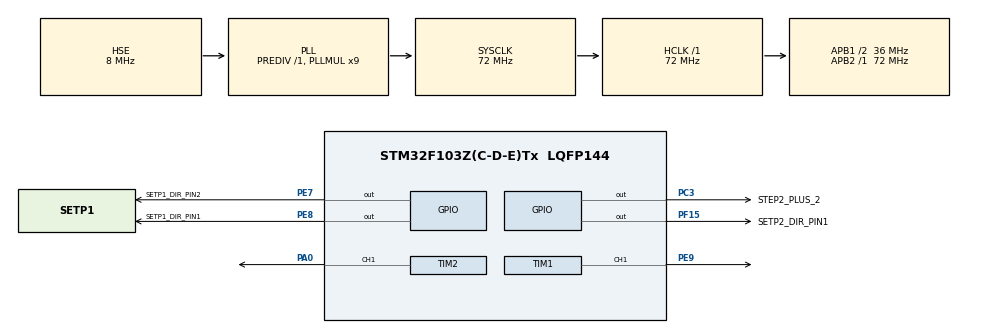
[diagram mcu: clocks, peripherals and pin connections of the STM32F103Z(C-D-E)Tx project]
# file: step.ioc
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Mcu.Family=STM32F1
Mcu.Name=STM32F103Z(C-D-E)Tx
Mcu.Package=LQFP144
NVIC.PriorityGroup=NVIC_PRIORITYGROUP_4
OSC_IN.Mode=HSE-External-Oscillator
OSC_IN.Signal=RCC_OSC_IN
OSC_OUT.Mode=HSE-External-Oscillator
OSC_OUT.Signal=RCC_OSC_OUT
PA0-WKUP.Signal=S_TIM2_CH1_ETR
PA13.Mode=Serial_Wire
PA13.Signal=SYS_JTMS-SWDIO
PA14.Mode=Serial_Wire
PA14.Signal=SYS_JTCK-SWCLK
PC3.GPIO_Label=STEP2_PLUS_2
PC3.GPIO_Speed=GPIO_SPEED_FREQ_MEDIUM
PC3.Signal=GPIO_Output
PE7.GPIO_Label=SETP1_DIR_PIN2
PE7.GPIO_Speed=GPIO_SPEED_FREQ_MEDIUM
PE7.Signal=GPIO_Output
PE8.GPIO_Label=SETP1_DIR_PIN1
PE8.GPIO_Speed=GPIO_SPEED_FREQ_MEDIUM
PE8.PinState=GPIO_PIN_SET
PE8.Signal=GPIO_Output
PE9.Signal=S_TIM1_CH1
PF15.GPIO_Label=SETP2_DIR_PIN1
PF15.GPIO_Speed=GPIO_SPEED_FREQ_MEDIUM
PF15.PinState=GPIO_PIN_SET
PF15.Signal=GPIO_Output
ProjectManager.HeapSize=0x200
ProjectManager.StackSize=0x400
ProjectManager.TargetToolchain=MDK-ARM V5
RCC.AHBFreq_Value=72000000
RCC.APB1CLKDivider=RCC_HCLK_DIV2
RCC.APB1Freq_Value=36000000
RCC.APB1TimFreq_Value=72000000
RCC.APB2Freq_Value=72000000
RCC.APB2TimFreq_Value=72000000
RCC.HCLKFreq_Value=72000000
RCC.PLLMUL=RCC_PLL_MUL9
RCC.PLLSourceVirtual=RCC_PLLSOURCE_HSE
RCC.SYSCLKFreq_VALUE=72000000
RCC.SYSCLKSource=RCC_SYSCLKSOURCE_PLLCLK
RCC.USBFreq_Value=72000000
SH.S_TIM1_CH1.0=TIM1_CH1,PWM Generation1 CH1
SH.S_TIM2_CH1_ETR.0=TIM2_CH1,PWM Generation1 CH1
TIM1.Channel-PWM\ Generation1\ CH1=TIM_CHANNEL_1
TIM1.Period=10000
TIM1.Prescaler=71
TIM1.Pulse-PWM\ Generation1\ CH1=0
TIM2.AutoReloadPreload=TIM_AUTORELOAD_PRELOAD_DISABLE
TIM2.Channel-PWM\ Generation1\ CH1=TIM_CHANNEL_1
TIM2.Period=10000
TIM2.Prescaler=71
VP_TIM1_VS_ClockSourceINT.Mode=Internal
VP_TIM2_VS_ClockSourceINT.Mode=Internal
board=custom

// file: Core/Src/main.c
/* USER CODE BEGIN Header */
/**
  ******************************************************************************
  * @file           : main.c
  * @brief          : Main program body
  ******************************************************************************
  * @attention
  *
  * Copyright (c) 2022 STMicroelectronics.
  * All rights reserved.
  *
  * This software is licensed under terms that can be found in the LICENSE file
  * in the root directory of this software component.
  * If no LICENSE file comes with this software, it is provided AS-IS.
  *
  ******************************************************************************
  */
/* USER CODE END Header */
#include "main.h"
#include "tim.h"
#include "gpio.h"

/* USER CODE BEGIN Includes */
#include "step.h"
/* USER CODE END Includes */

/* USER CODE BEGIN PV */
	/*全局变量，便于debug-watch-window*/
	SmodeControl s1;  //1号步进电机控制曲线结构体
	SmodeControl s2;  //2号步进电机控制曲线结构体

/* USER CODE END PV */

void SystemClock_Config(void);

int main(void)
{
  /* USER CODE BEGIN 1 */
	step_infor step1;     //步进电机1参数设置结构体
	step_infor step2;     //步进电机2参数设置结构体

  /* USER CODE END 1 */

  /* MCU Configuration--------------------------------------------------------*/

  /* Reset of all peripherals, Initializes the Flash interface and the Systick. */
  HAL_Init();

  /* USER CODE BEGIN Init */

	/*1号步进电机参数设置*/
	step1.direction = 1; //方向
	step1.pulse_rev = 8; //细分数
	step1.step_id = 1;   //电机ID

	s1.flexible= 1;			 //S曲线圆滑度
	s1.max_speed = 500;  //最大速度限幅
	s1.min_speed = 0;    //最小速度限幅
	s1.step_speed = 0.1; //速度单次调节量（步长）

	/*2号步进电机参数设置*/
	step2.direction = 1;
	step2.pulse_rev = 8;
	step2.step_id = 2;

	s2.flexible= 1;
	s2.max_speed = 500;
	s2.min_speed = 0;
	s2.step_speed = 0.1;

  /* USER CODE END Init */

  /* Configure the system clock */
  SystemClock_Config();

  /* Initialize all configured peripherals */
  MX_GPIO_Init();
  MX_TIM1_Init();
  MX_TIM2_Init();
  /* USER CODE BEGIN 2 */

	HAL_TIM_PWM_Start(&htim1, TIM_CHANNEL_1);  //产生PWM波
	HAL_TIM_PWM_Start(&htim2, TIM_CHANNEL_1);

  /* USER CODE END 2 */

  /* Infinite loop */
  while (1)
  {

    /* USER CODE BEGIN 3 */

	  /*1号0->5，2号0->10*/
		s1.start_speed = 0;
		s1.current_speed = 0;
		s1.traget_speed = 5;
		s2.start_speed = 0;
		s2.current_speed = 0;
		s2.traget_speed = 10;
		while(!(s2.current_speed>9)){

			if(s1.current_speed<6){   //1号电机是否加速到目标速度
				step_control(&s1);      //计算当前控制速度
				step1.step_speed = s1.current_speed;
				step_run(step1.step_id, step1.direction, step1.step_speed, step1.pulse_rev);  //控制速度
			}
			step_control(&s2);
			step2.step_speed = s2.current_speed;
		  step_run(step2.step_id, step2.direction, step2.step_speed, step2.pulse_rev);
			htim1.Instance->CCR1 = 0.5 * TIM1->ARR;    //保持50%占空比，等宽脉冲波
			htim2.Instance->CCR1 = 0.5 * TIM2->ARR;
			HAL_Delay(10);
		}
		HAL_Delay(1000); //保持1S
		/*1号5~20，2号10->40*/
		s1.start_speed = s1.current_speed; //开始调速时速度等于当前速度
		s1.traget_speed = 20;         //目标速度
		s2.start_speed = s2.current_speed;
		s2.traget_speed = 40;
		while(!(s2.current_speed>39)){
			if(s1.current_speed < 21){
				step_control(&s1);
				step1.step_speed = s1.current_speed;
				step_run(step1.step_id, step1.direction, step1.step_speed, step1.pulse_rev);
			}
			step_control(&s2);
			step2.step_speed = s2.current_speed;
			step_run(step2.step_id, step2.direction, step2.step_speed, step2.pulse_rev);
			htim1.Instance->CCR1 = 0.5 * TIM1->ARR;
			htim2.Instance->CCR1 = 0.5 * TIM2->ARR;
			HAL_Delay(10);
		}
		HAL_Delay(1000); //保持1S
		/*1号20~50，2号40->100*/
		s1.start_speed = s1.current_speed;
		s1.traget_speed = 50;
		s2.start_speed = s2.current_speed;
		s2.traget_speed = 100;
		while(!(s2.current_speed>99)){
			if(s1.current_speed < 51){
				step_control(&s1);
				step1.step_speed = s1.current_speed;
				step_run(step1.step_id, step1.direction, step1.step_speed, step1.pulse_rev);
			}
			step_control(&s2);
			step2.step_speed = s2.current_speed;
			step_run(step2.step_id, step2.direction, step2.step_speed, step2.pulse_rev);
			htim1.Instance->CCR1 = 0.5 * TIM1->ARR;
			htim2.Instance->CCR1 = 0.5 * TIM2->ARR;
			HAL_Delay(10);
		}
		HAL_Delay(1000);   //保持1s
		/*1号50~25，2号100->50*/
		s1.start_speed = s1.current_speed;
		s1.traget_speed = 25;
		s2.start_speed = s2.current_speed;
		s2.traget_speed = 50;
		while(!(s2.current_speed < 51)){
			if(s1.current_speed > 24){
				step_control(&s1);
				step1.step_speed = s1.current_speed;
				step_run(step1.step_id, step1.direction, step1.step_speed, step1.pulse_rev);
			}
			step_control(&s2);
			step2.step_speed = s2.current_speed;
			step_run(step2.step_id, step2.direction, step2.step_speed, step2.pulse_rev);
			htim1.Instance->CCR1 = 0.5 * TIM1->ARR;
			htim2.Instance->CCR1 = 0.5 * TIM2->ARR;
			HAL_Delay(10);
		}

		HAL_Delay(1000);
		/*降为0*/
		s1.start_speed = s1.current_speed;
		s1.traget_speed = 0;
		s2.start_speed = s2.current_speed;
		s2.traget_speed = 0;
		while(!(s2.current_speed <=0)){
				step_control(&s1);
			  step1.step_speed = s1.current_speed;
				step_control(&s2);
			  step2.step_speed = s2.current_speed;
				step_run(step1.step_id, step1.direction, step1.step_speed, step1.pulse_rev);
				step_run(step2.step_id, step2.direction, step2.step_speed, step2.pulse_rev);
				htim1.Instance->CCR1 = 0.5 * TIM1->ARR;
				htim2.Instance->CCR1 = 0.5 * TIM2->ARR;
				HAL_Delay(10);
		}

		/*停止*/
		htim1.Instance->CCR1 = 0;
		htim2.Instance->CCR1 = 0;
		HAL_TIM_PWM_Stop(&htim1, TIM_CHANNEL_1);  //停止PWM波
	  HAL_TIM_PWM_Stop(&htim2, TIM_CHANNEL_1);
		while(1){
				;
		}

  }
  /* USER CODE END 3 */
}

void SystemClock_Config(void)
{
  RCC_OscInitTypeDef RCC_OscInitStruct = {0};
  RCC_ClkInitTypeDef RCC_ClkInitStruct = {0};

  /** Initializes the RCC Oscillators according to the specified parameters
  * in the RCC_OscInitTypeDef structure.
  */
  RCC_OscInitStruct.OscillatorType = RCC_OSCILLATORTYPE_HSE;
  RCC_OscInitStruct.HSEState = RCC_HSE_ON;
  RCC_OscInitStruct.HSEPredivValue = RCC_HSE_PREDIV_DIV1;
  RCC_OscInitStruct.HSIState = RCC_HSI_ON;
  RCC_OscInitStruct.PLL.PLLState = RCC_PLL_ON;
  RCC_OscInitStruct.PLL.PLLSource = RCC_PLLSOURCE_HSE;
  RCC_OscInitStruct.PLL.PLLMUL = RCC_PLL_MUL9;
  if (HAL_RCC_OscConfig(&RCC_OscInitStruct) != HAL_OK)
  {
    Error_Handler();
  }

  /** Initializes the CPU, AHB and APB buses clocks
  */
  RCC_ClkInitStruct.ClockType = RCC_CLOCKTYPE_HCLK|RCC_CLOCKTYPE_SYSCLK
                              |RCC_CLOCKTYPE_PCLK1|RCC_CLOCKTYPE_PCLK2;
  RCC_ClkInitStruct.SYSCLKSource = RCC_SYSCLKSOURCE_PLLCLK;
  RCC_ClkInitStruct.AHBCLKDivider = RCC_SYSCLK_DIV1;
  RCC_ClkInitStruct.APB1CLKDivider = RCC_HCLK_DIV2;
  RCC_ClkInitStruct.APB2CLKDivider = RCC_HCLK_DIV1;

  if (HAL_RCC_ClockConfig(&RCC_ClkInitStruct, FLASH_LATENCY_2) != HAL_OK)
  {
    Error_Handler();
  }
}

void Error_Handler(void)
{
  __disable_irq();
  while (1)
  {
  }
}
